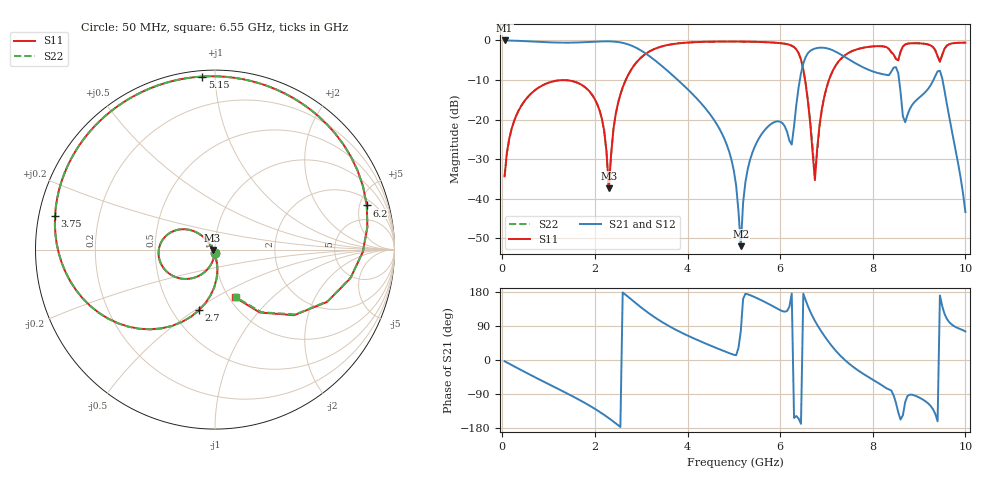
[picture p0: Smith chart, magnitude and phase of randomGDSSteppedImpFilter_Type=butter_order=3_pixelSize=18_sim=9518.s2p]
! freq	dB(S11)	phase(S11)	dB(S12)	phase(S12)
!  dB(S21)	phase(S21)	dB(S22)	phase(S22)
!S-par simulation data
#  GHz  S  DB  R 50
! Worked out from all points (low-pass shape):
!   200 points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, 50 MHz to 10 GHz, reference 50 ohm
!   highest |S21| = -0.01 dB at 50 MHz (marker M1); lowest = -51.9 dB at 5.15 GHz (marker M2)
!   |S21| within 3 dB of the highest: start of sweep to 3.06 GHz; 6.618 GHz to 7.227 GHz (608.9 MHz wide, 8.8 % of centre)
!   lowest |S11| = -37.3 dB at 2.3 GHz (marker M3), VSWR 1.03, Z = 48.7 - j0.242 ohm
!   |S11| at or under -10 dB: start of sweep to 2.666 GHz; 6.538 GHz to 7.053 GHz (515.4 MHz wide, 7.58 % of centre)
!   |S22| runs from -37.5 to -0.3 dB; largest |S21 - S12| = 0
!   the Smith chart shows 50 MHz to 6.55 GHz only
!   S11 on the Smith chart (normalised r, x): 50 MHz: 1.00, -0.04; 2.7 GHz: 0.67, -0.52; 3.75 GHz: 0.05, +0.10; 5.15 GHz: 0.03, +0.93; 6.2 GHz: 2.65, +5.83; 6.55 GHz: 1.06, -0.61
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0.05  -34.32 -93.4  -0.01 -3.3  -0.01 -3.3  -34.32 -93.4
0.55  -14.28 -126.1  -0.21 -35.7  -0.21 -35.7  -14.28 -126.1
1.75  -11.49 159.2  -0.46 -111.0  -0.46 -111.0  -11.49 159.1
2.15  -19.74 133.0  -0.25 -140.7  -0.25 -140.7  -19.74 132.8
2.3  -37.35 -169.4  -0.23 -153.4  -0.23 -153.4  -37.50 -169.8
2.45  -18.54 -83.5  -0.33 -167.1  -0.33 -167.1  -18.55 -83.3
2.7  -9.13 -104.8  -0.93 168.3  -0.93 168.3  -9.13 -104.7
3.4  -1.66 -167.7  -6.00 104.0  -6.00 104.0  -1.66 -167.7
3.75  -0.81 168.3  -9.56 79.6  -9.56 79.6  -0.81 168.3
5.05  -0.28 99.4  -36.65 12.7  -36.65 12.7  -0.28 99.4
5.15  -0.29 94.2  -51.94 76.0  -51.94 76.0  -0.29 94.3
5.45  -0.35 77.9  -26.86 165.9  -26.86 165.9  -0.35 77.9
6.2  -1.10 16.2  -25.31 140.5  -25.31 140.5  -1.09 16.5
6.55  -10.86 -67.6  -4.20 158.0  -4.20 158.0  -10.70 -66.0
6.7  -28.25 -89.5  -2.28 114.9  -2.28 114.9  -26.83 -84.4
6.75  -35.27 -154.4  -2.05 103.4  -2.05 103.4  -34.31 -132.8
6.9  -17.39 141.3  -1.82 73.3  -1.82 73.3  -17.56 143.5
7.2  -6.31 106.3  -2.84 24.5  -2.84 24.5  -6.33 106.8
8.35  -2.16 11.5  -8.77 -77.6  -8.77 -77.6  -2.17 11.6
8.7  -1.03 18.3  -20.65 -110.9  -20.65 -110.9  -1.02 18.2
9.45  -5.36 -16.1  -7.67 170.5  -7.67 170.5  -5.38 -16.1
10  -0.56 -35.1  -43.32 75.3  -43.32 75.3  -0.56 -35.0
